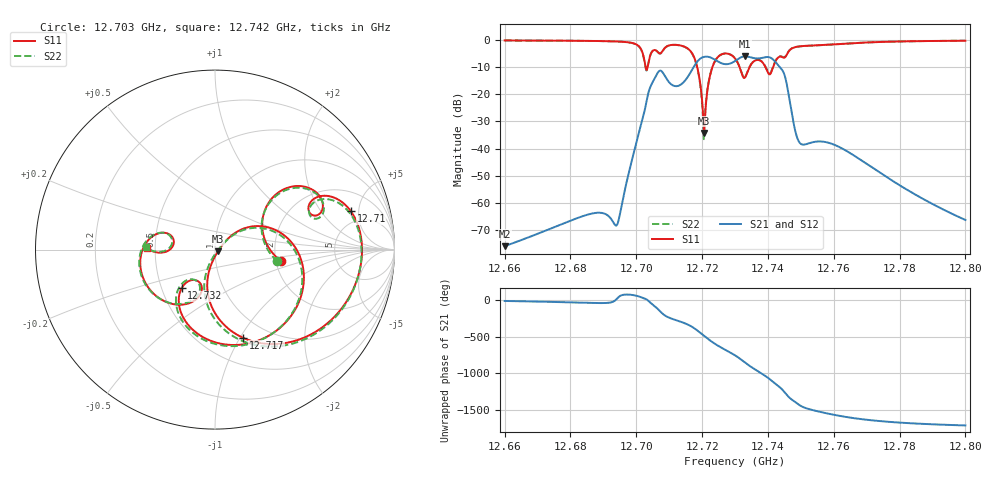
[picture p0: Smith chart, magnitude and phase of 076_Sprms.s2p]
! TOUCHSTONE file generated by CST MICROWAVE STUDIO
! Date and time: Wed Jul 31 14:32:59 2024
! Project name: WaveGuide_BPF-Ver4.1_U-shape_Ku_T3_C4_CWA_2.cst
! Parameters = {cavity_h=16; cavity_l0=10; cavity_l1=15.1753; cavity_l2=16.8209; cavity_l3=17.1363; cavity_l4=17.2898; cavity_l5=17.1295; cavity_l6=17.6215; cavity_r=2.5; cavity_screw_l=0.5; cavity_screw_r=1.5; cavity_w=8; iris_h00=0; iris_h01=8.8083; iris_h112=0; iris_h12=5.5998; iris_h211=3.6555; 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
! Header version: 2018
! Port assignment regex: !\s*Touchstone port\s*([0-9]+)\s*=\s*(CST MWS port|CST DS port)\s*([0-9]+|Zmin|Zmax)\s*\(\"(.*)\"\)(\s*mode\s*([0-9]+))?.*
! Touchstone port assignment:
! Touchstone port 1 = CST MWS port 1 ("")
! Touchstone port 2 = CST MWS port 2 ("")
# GHz S RI R 50
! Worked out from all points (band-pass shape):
!   5001 points, 12.66 GHz to 12.8 GHz, reference 50 ohm
!   highest |S21| = -5.98 dB at 12.733 GHz (marker M1); lowest = -76.0 dB at 12.66 GHz (marker M2)
!   |S21| within 3 dB of the highest: 12.71793 GHz to 12.74293 GHz (25 MHz wide, 0.196 % of centre)
!   lowest |S11| = -34.3 dB at 12.721 GHz (marker M3), VSWR 1.04, Z = 51.7 - j1 ohm
!   |S11| at or under -10 dB: 12.71853 GHz to 12.72312 GHz (4.596 MHz wide, 0.0361 % of centre); 12.73139 GHz to 12.73441 GHz (3.02 MHz wide, 0.0237 % of centre); 12.73926 GHz to 12.74156 GHz (2.298 MHz wide, 0.018 % of centre) (the widest 3 of 4)
!   |S22| runs from -36.6 to -0.1 dB; largest |S21 - S12| = 1e-09
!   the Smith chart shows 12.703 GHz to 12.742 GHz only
!   S11 on the Smith chart (normalised r, x): 12.703 GHz: 2.12, -0.30; 12.71 GHz: 3.63, +4.08; 12.717 GHz: 0.77, -1.04; 12.732 GHz: 0.63, -0.30; 12.742 GHz: 0.45, +0.01
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12.66  0.2022 0.9638  0.000152 -4.27e-05  0.000152 -4.27e-05  0.2119 0.9616
12.68335  0.5543 0.7959  0.000433 -0.000348  0.000433 -0.000348  0.5661 0.7872
12.69416  0.7831 0.5241  0.000375 0.000111  0.000375 0.000111  0.7934 0.5068
12.69996  0.828 0.1156  0.00692 0.0103  0.00692 0.0103  0.8274 0.0893
12.70264  0.365 -0.061  0.0511 0.0152  0.0511 0.0152  0.3479 -0.0649
12.70668  0.5604 0.1894  -0.1648 -0.1978  -0.1648 -0.1978  0.5632 0.172
12.70967  0.7566 0.214  -0.095 0.148  -0.095 0.148  0.761 0.1896
12.71734  0.1586 -0.4924  0.2942 -0.1007  0.2942 -0.1007  0.1245 -0.4958
12.72062  0.0167 -0.00967  -0.3246 -0.3668  -0.3246 -0.3668  0.017 -0.0021
12.72457  0.469 -0.0285  -0.0847 0.4013  -0.0847 0.4013  0.4666 -0.0517
12.73  -0.1285 -0.442  0.3329 -0.2398  0.3329 -0.2398  -0.1525 -0.4362
12.73165  -0.1862 -0.2154  0.0267 -0.4746  0.0267 -0.4746  -0.1979 -0.208
12.73311  -0.0798 -0.191  -0.3632 -0.3473  -0.3632 -0.3473  -0.0896 -0.1894
12.7377  -0.4149 -0.0459  0.0136 0.4628  0.0136 0.4628  -0.42 -0.0422
12.74016  -0.2335 0.0623  0.4753 0.1038  0.4753 0.1038  -0.242 0.0635
12.74207  -0.3806 0.00816  0.232 -0.3363  0.232 -0.3363  -0.3867 0.0135
12.74456  -0.374 0.2983  -0.2362 -0.1241  -0.2362 -0.1241  -0.381 0.3031
12.74921  0.0392 0.7597  0.0135 0.00419  0.0135 0.00419  0.0484 0.7588
12.75335  0.661 0.4392  0.00667 -0.0111  0.00667 -0.0111  0.6684 0.4238
12.7636  0.3152 -0.8017  -0.00832 -0.004  -0.00832 -0.004  0.2848 -0.8136
12.77668  -0.6756 -0.6439  -0.00211 0.00187  -0.00211 0.00187  -0.6937 -0.6261
12.8  -0.9711 0.0737  7.76e-06 0.000481  7.76e-06 0.000481  -0.9703 0.0881
